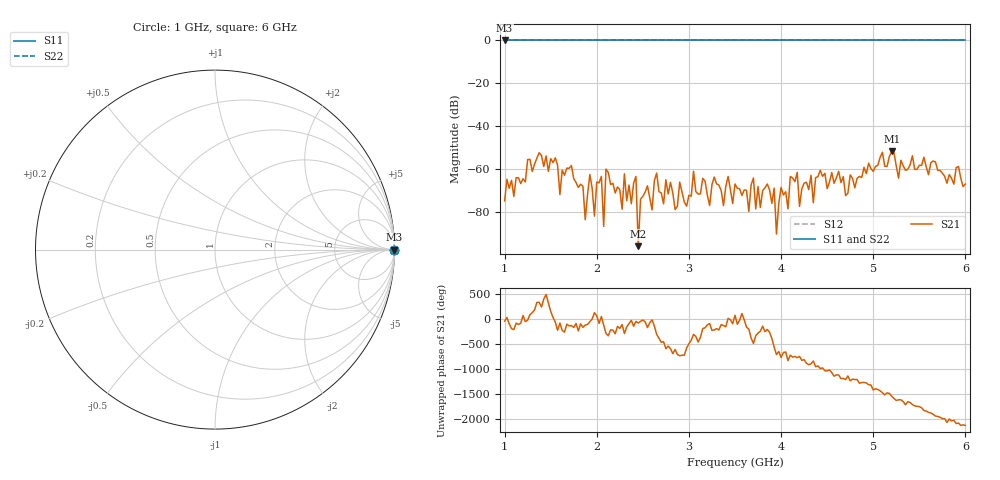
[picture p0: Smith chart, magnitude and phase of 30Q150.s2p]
!Keysight Technologies N9926A: A.08.19
!Date: Sunday, 01 March 2026 14:31:02
!Timezone: (GMT-06:00) Central Time (US & Canada)
!Model: N9926A
!Serial: MY53102721
!GPS Latitude:
!GPS Longitude:
!GPS TimeStamp: 0001-01-01 00:00:00Z
!GPS Seconds Since Last Read: 0
!CHECKSUM:0989667333
!Correction: S11()S21(ON U)S12()S22()
!S2P File: Measurements:S11,S21,S12,S22:
# Hz S DB R 50
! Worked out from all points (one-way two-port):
!   201 points, 1 GHz to 6 GHz, reference 50 ohm
!   highest |S21| = -51.74 dB at 5.2 GHz (marker M1); lowest = -96.1 dB at 2.45 GHz (marker M2)
!   lowest |S11| = 0.0 dB at 1 GHz (marker M3)
!   |S11| at or under -10 dB: nowhere
!   |S22| runs from 0.0 to 0.0 dB; largest |S21 - S12| = 1
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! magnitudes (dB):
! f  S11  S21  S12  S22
! 1 GHz  0.0  -75.0  0.0  0.0
! 1.375 GHz  0.0  -52.5  0.0  0.0
! 1.85 GHz  0.0  -68.2  0.0  0.0
! 1.875 GHz  0.0  -83.8  0.0  0.0
! 1.925 GHz  0.0  -62.7  0.0  0.0
! 1.975 GHz  0.0  -82.1  0.0  0.0
! 2.05 GHz  0.0  -63.5  0.0  0.0
! 2.075 GHz  0.0  -86.9  0.0  0.0
! 2.1 GHz  0.0  -60.1  0.0  0.0
! 2.275 GHz  0.0  -78.9  0.0  0.0
! 2.3 GHz  0.0  -62.3  0.0  0.0
! 2.375 GHz  0.0  -76.3  0.0  0.0
! 2.425 GHz  0.0  -63.5  0.0  0.0
! 2.45 GHz  0.0  -96.1  0.0  0.0
! 2.675 GHz  0.0  -70.7  0.0  0.0
! 3.5 GHz  0.0  -67.1  0.0  0.0
! 4.35 GHz  0.0  -75.9  0.0  0.0
! 4.425 GHz  0.0  -60.7  0.0  0.0
! 4.7 GHz  0.0  -72.5  0.0  0.0
! 5.175 GHz  0.0  -54.2  0.0  0.0
! 5.2 GHz  0.0  -51.7  0.0  0.0
! 6 GHz  0.0  -67.1  0.0  0.0
